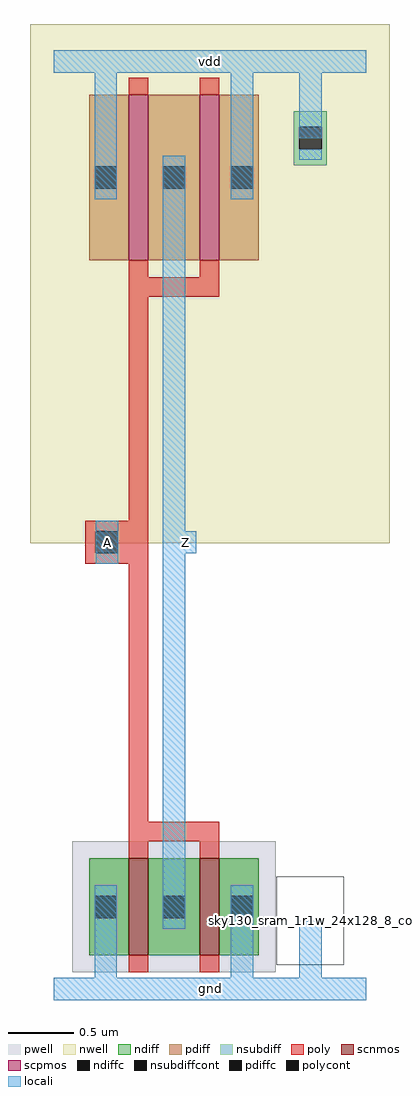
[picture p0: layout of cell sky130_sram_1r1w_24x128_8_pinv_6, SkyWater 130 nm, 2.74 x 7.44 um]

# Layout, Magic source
magic
tech sky130B
magscale 1 2
<< nwell >>
rect -36 679 512 1471
<< poly >>
rect 114 714 144 1055
rect 81 648 144 714
rect 114 255 144 648
<< locali >>
rect 0 1397 476 1431
rect 62 1204 96 1397
rect 64 648 98 714
rect 166 698 200 1270
rect 270 1204 304 1397
rect 374 1297 408 1397
rect 166 664 217 698
rect 166 92 200 664
rect 62 17 96 92
rect 270 17 304 92
rect 374 17 408 104
rect 0 -17 476 17
use sky130_sram_1r1w_24x128_8_contact_15  sky130_sram_1r1w_24x128_8_contact_15_0
transform 1 0 48 0 1 648
box 0 0 66 66
use sky130_sram_1r1w_24x128_8_contact_28  sky130_sram_1r1w_24x128_8_contact_28_0
transform 1 0 366 0 1 1256
box -59 -43 109 125
use sky130_sram_1r1w_24x128_8_contact_29  sky130_sram_1r1w_24x128_8_contact_29_0
transform 1 0 366 0 1 63
box -26 -26 76 108
use sky130_sram_1r1w_24x128_8_nmos_m2_w0_740_sli_dli_da_p  sky130_sram_1r1w_24x128_8_nmos_m2_w0_740_sli_dli_da_p_0
transform 1 0 54 0 1 51
box -26 -26 284 204
use sky130_sram_1r1w_24x128_8_pmos_m2_w1_260_sli_dli_da_p  sky130_sram_1r1w_24x128_8_pmos_m2_w1_260_sli_dli_da_p_0
transform 1 0 54 0 1 1111
box -59 -56 317 306
<< labels >>
rlabel locali s 81 681 81 681 4 A
port 1 nsew
rlabel locali s 200 681 200 681 4 Z
port 2 nsew
rlabel locali s 238 0 238 0 4 gnd
port 3 nsew
rlabel locali s 238 1414 238 1414 4 vdd
port 4 nsew
<< properties >>
string FIXED_BBOX 0 0 476 1414
<< end >>

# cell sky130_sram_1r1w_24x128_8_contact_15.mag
magic
tech sky130B
<< poly >>
rect 0 25 33 33
rect 0 8 8 25
rect 25 8 33 25
rect 0 0 33 8
<< polycont >>
rect 8 8 25 25
<< locali >>
rect 8 25 25 33
rect 8 0 25 8
<< properties >>
string FIXED_BBOX -10 -10 43 43
<< end >>

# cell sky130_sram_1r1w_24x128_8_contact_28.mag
magic
tech sky130B
magscale 1 2
<< nwell >>
rect -59 -43 109 125
<< nsubdiff >>
rect 0 58 50 82
rect 0 24 8 58
rect 42 24 50 58
rect 0 0 50 24
<< nsubdiffcont >>
rect 8 24 42 58
<< locali >>
rect 8 58 42 74
rect 8 8 42 24
<< properties >>
string FIXED_BBOX -59 -43 109 125
<< end >>

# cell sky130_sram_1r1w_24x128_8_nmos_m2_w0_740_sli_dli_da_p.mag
magic
tech sky130B
magscale 1 2
<< pwell >>
rect -26 -26 284 174
<< scnmos >>
rect 60 0 90 148
rect 168 0 198 148
<< ndiff >>
rect 0 0 60 148
rect 90 0 168 148
rect 198 0 258 148
<< poly >>
rect 60 174 198 204
rect 60 148 90 174
rect 168 148 198 174
rect 60 -26 90 0
rect 168 -26 198 0
<< locali >>
rect 8 41 42 107
rect 112 41 146 107
rect 216 41 250 107
use sky130_sram_1r1w_24x128_8_contact_10  sky130_sram_1r1w_24x128_8_contact_10_0
transform 1 0 208 0 1 41
box -26 -22 76 88
use sky130_sram_1r1w_24x128_8_contact_10  sky130_sram_1r1w_24x128_8_contact_10_1
transform 1 0 104 0 1 41
box -26 -22 76 88
use sky130_sram_1r1w_24x128_8_contact_10  sky130_sram_1r1w_24x128_8_contact_10_2
transform 1 0 0 0 1 41
box -26 -22 76 88
<< labels >>
rlabel poly s 129 189 129 189 4 G
port 1 nsew
rlabel locali s 233 74 233 74 4 S
port 2 nsew
rlabel locali s 25 74 25 74 4 S
port 2 nsew
rlabel locali s 129 74 129 74 4 D
port 3 nsew
<< properties >>
string FIXED_BBOX -25 -26 283 204
<< end >>

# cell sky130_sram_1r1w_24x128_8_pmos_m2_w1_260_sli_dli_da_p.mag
magic
tech sky130B
magscale 1 2
<< nwell >>
rect -54 -54 312 306
<< scpmos >>
rect 60 0 90 252
rect 168 0 198 252
<< pdiff >>
rect 0 0 60 252
rect 90 0 168 252
rect 198 0 258 252
<< poly >>
rect 60 252 90 278
rect 168 252 198 278
rect 60 -26 90 0
rect 168 -26 198 0
rect 60 -56 198 -26
<< locali >>
rect 8 93 42 159
rect 112 93 146 159
rect 216 93 250 159
use sky130_sram_1r1w_24x128_8_contact_11  sky130_sram_1r1w_24x128_8_contact_11_0
transform 1 0 208 0 1 93
box -59 -51 109 117
use sky130_sram_1r1w_24x128_8_contact_11  sky130_sram_1r1w_24x128_8_contact_11_1
transform 1 0 104 0 1 93
box -59 -51 109 117
use sky130_sram_1r1w_24x128_8_contact_11  sky130_sram_1r1w_24x128_8_contact_11_2
transform 1 0 0 0 1 93
box -59 -51 109 117
<< labels >>
rlabel poly s 129 -41 129 -41 4 G
port 1 nsew
rlabel locali s 233 126 233 126 4 S
port 2 nsew
rlabel locali s 25 126 25 126 4 S
port 2 nsew
rlabel locali s 129 126 129 126 4 D
port 3 nsew
<< properties >>
string FIXED_BBOX -54 -56 312 306
<< end >>

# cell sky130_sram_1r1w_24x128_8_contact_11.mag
magic
tech sky130B
magscale 1 2
<< nwell >>
rect -59 -51 109 117
<< pdiff >>
rect 0 50 50 62
rect 0 16 8 50
rect 42 16 50 50
rect 0 4 50 16
<< pdiffc >>
rect 8 16 42 50
<< locali >>
rect 8 50 42 66
rect 8 0 42 16
<< properties >>
string FIXED_BBOX -59 -51 109 117
<< end >>

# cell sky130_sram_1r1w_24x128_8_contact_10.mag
magic
tech sky130B
<< pwell >>
rect -13 -11 38 44
<< ndiff >>
rect 0 25 25 31
rect 0 8 4 25
rect 21 8 25 25
rect 0 2 25 8
<< ndiffc >>
rect 4 8 21 25
<< locali >>
rect 4 25 21 33
rect 4 0 21 8
<< properties >>
string FIXED_BBOX -12 -10 37 43
<< end >>
